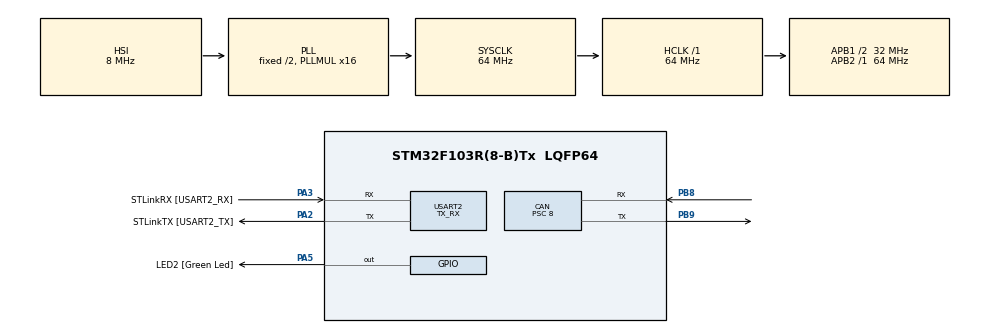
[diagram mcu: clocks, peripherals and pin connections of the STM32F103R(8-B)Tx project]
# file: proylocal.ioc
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CAN.BS1=CAN_BS1_3TQ
CAN.BS2=CAN_BS2_4TQ
CAN.CalculateBaudRate=500000
CAN.CalculateTimeBit=2000
CAN.CalculateTimeQuantum=250.0
CAN.Prescaler=8
FREERTOS.Tasks01=defaultTask,0,128,StartDefaultTask,Default,NULL,Dynamic,NULL,NULL
FREERTOS.configUSE_NEWLIB_REENTRANT=1
Mcu.Family=STM32F1
Mcu.Name=STM32F103R(8-B)Tx
Mcu.Package=LQFP64
NVIC.PriorityGroup=NVIC_PRIORITYGROUP_4
NVIC.TIM4_IRQn=true\:15\:0\:false\:false\:true\:false\:false\:true\:true
NVIC.TimeBase=TIM4_IRQn
NVIC.TimeBaseIP=TIM4
PA13.Mode=Serial_Wire
PA13.Signal=SYS_JTMS-SWDIO
PA14.Mode=Serial_Wire
PA14.Signal=SYS_JTCK-SWCLK
PA2.GPIO_Label=STLinkTX [USART2_TX]
PA2.Mode=Asynchronous
PA2.Signal=USART2_TX
PA3.GPIO_Label=STLinkRX [USART2_RX]
PA3.Mode=Asynchronous
PA3.Signal=USART2_RX
PA5.GPIO_Label=LED2 [Green Led]
PA5.Signal=GPIO_Output
PB8.Mode=CAN_Activate
PB8.Signal=CAN_RX
PB9.Mode=CAN_Activate
PB9.Signal=CAN_TX
ProjectManager.HeapSize=0x200
ProjectManager.StackSize=0x400
ProjectManager.TargetToolchain=STM32CubeIDE
RCC.AHBFreq_Value=64000000
RCC.APB1CLKDivider=RCC_HCLK_DIV2
RCC.APB1Freq_Value=32000000
RCC.APB1TimFreq_Value=64000000
RCC.APB2Freq_Value=64000000
RCC.APB2TimFreq_Value=64000000
RCC.HCLKFreq_Value=64000000
RCC.PLLMUL=RCC_PLL_MUL16
RCC.SYSCLKFreq_VALUE=64000000
RCC.SYSCLKSource=RCC_SYSCLKSOURCE_PLLCLK
RCC.USBFreq_Value=64000000
USART2.Mode=MODE_TX_RX
USART2.VirtualMode=VM_ASYNC
VP_FREERTOS_VS_CMSIS_V1.Mode=CMSIS_V1
VP_SYS_VS_tim4.Mode=TIM4
board=custom

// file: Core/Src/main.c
/* USER CODE BEGIN Header */
/**
  ******************************************************************************
  * @file           : main.c
  * @brief          : Main program body
  ******************************************************************************
  * @attention
  *
  * Copyright (c) 2023 STMicroelectronics.
  * All rights reserved.
  *
  * This software is licensed under terms that can be found in the LICENSE file
  * in the root directory of this software component.
  * If no LICENSE file comes with this software, it is provided AS-IS.
  *
  ******************************************************************************
  */
/* USER CODE END Header */
#include "main.h"
#include "cmsis_os.h"

/* USER CODE BEGIN Includes */
#include <stdio.h>
#include "myprintf.h"
/* USER CODE END Includes */

/* USER CODE BEGIN PTD */
TaskHandle_t TaskTempHandle;
TaskHandle_t TaskSpeedHandle;
//TaskHandle_t TaskRxHandle;

osThreadId TempTaskHandle;
osThreadId SpeedTaskHandle;
osThreadId RxTaskHandle;

osSemaphoreId mySemHandle;

osSemaphoreDef(mySem);

/* USER CODE END PTD */

CAN_HandleTypeDef hcan;

UART_HandleTypeDef huart2;

osThreadId defaultTaskHandle;
/* USER CODE BEGIN PV */
	#define TICKS_PER_MS (osKernelSysTickFrequency / 1000)

	CAN_TxHeaderTypeDef TxHeader;
	CAN_TxHeaderTypeDef TempTxHeader;
	CAN_RxHeaderTypeDef RxHeader;
	uint8_t TxData[8] = {0x11, 0x22, 0x33, 0x44, 0x55, 0x66, 0x77, 0x88};
	uint8_t RxData[8];
	float temp = 0;
	uint8_t	speed = 0;
	uint8_t button_status = 0;

	uint32_t txMailbox;
	CAN_FilterTypeDef sf;

	osMutexId canMutexHandle;
/* USER CODE END PV */

void SystemClock_Config(void);
static void MX_GPIO_Init(void);
static void MX_USART2_UART_Init(void);
static void MX_CAN_Init(void);
void StartDefaultTask(void const * argument);

/* USER CODE BEGIN PFP */
void StartTempTask(void const * argument);
void StartSpeedTask(void const * argument);
void StartRxTask(void const * argument);
/* USER CODE END PFP */

int main(void)
{

  /* MCU Configuration--------------------------------------------------------*/

  /* Reset of all peripherals, Initializes the Flash interface and the Systick. */
  HAL_Init();

  /* Configure the system clock */
  SystemClock_Config();

  /* Initialize all configured peripherals */
  MX_GPIO_Init();
  MX_USART2_UART_Init();
  MX_CAN_Init();
  /* USER CODE BEGIN 2 */
  RetargetInit(&huart2);
  /* USER CODE END 2 */

  /* USER CODE BEGIN RTOS_MUTEX */
  /* add mutexes, ... */
  osMutexDef(canMutex);
  canMutexHandle = osMutexCreate(osMutex(canMutex));
  /* USER CODE END RTOS_MUTEX */

  /* USER CODE BEGIN RTOS_SEMAPHORES */
  /* add semaphores, ... */

   // Crear semáforo binario con contador inicial = 0
  mySemHandle = osSemaphoreCreate(osSemaphore(mySem), 1);
    // Si quieres que empiece bloqueado, NO llames osSemaphoreRelease al inicio
  /* USER CODE END RTOS_SEMAPHORES */

  /* Create the thread(s) */
  /* definition and creation of defaultTask */
  osThreadDef(defaultTask, StartDefaultTask, osPriorityNormal, 0, 128);
  defaultTaskHandle = osThreadCreate(osThread(defaultTask), NULL);

  /* USER CODE BEGIN RTOS_THREADS */
  osThreadDef(SpeedTask, StartSpeedTask, osPriorityNormal, 0, 512);
  osThreadDef(TempTask, StartTempTask, osPriorityNormal, 0, 512);
  osThreadDef(RxTask, StartRxTask, osPriorityHigh, 0, 512);

  SpeedTaskHandle = osThreadCreate(osThread(SpeedTask), NULL);
  TempTaskHandle = osThreadCreate(osThread(TempTask), NULL);
  RxTaskHandle = osThreadCreate(osThread(RxTask), NULL);
  /* add threads, ... */
  /* USER CODE END RTOS_THREADS */

  /* Start scheduler */
  osKernelStart();

  /* We should never get here as control is now taken by the scheduler */

  /* Infinite loop */
  while (1)
  {

  }
}

void SystemClock_Config(void)
{
  RCC_OscInitTypeDef RCC_OscInitStruct = {0};
  RCC_ClkInitTypeDef RCC_ClkInitStruct = {0};

  /** Initializes the RCC Oscillators according to the specified parameters
  * in the RCC_OscInitTypeDef structure.
  */
  RCC_OscInitStruct.OscillatorType = RCC_OSCILLATORTYPE_HSI;
  RCC_OscInitStruct.HSIState = RCC_HSI_ON;
  RCC_OscInitStruct.HSICalibrationValue = RCC_HSICALIBRATION_DEFAULT;
  RCC_OscInitStruct.PLL.PLLState = RCC_PLL_ON;
  RCC_OscInitStruct.PLL.PLLSource = RCC_PLLSOURCE_HSI_DIV2;
  RCC_OscInitStruct.PLL.PLLMUL = RCC_PLL_MUL16;
  if (HAL_RCC_OscConfig(&RCC_OscInitStruct) != HAL_OK)
  {
    Error_Handler();
  }

  /** Initializes the CPU, AHB and APB buses clocks
  */
  RCC_ClkInitStruct.ClockType = RCC_CLOCKTYPE_HCLK|RCC_CLOCKTYPE_SYSCLK
                              |RCC_CLOCKTYPE_PCLK1|RCC_CLOCKTYPE_PCLK2;
  RCC_ClkInitStruct.SYSCLKSource = RCC_SYSCLKSOURCE_PLLCLK;
  RCC_ClkInitStruct.AHBCLKDivider = RCC_SYSCLK_DIV1;
  RCC_ClkInitStruct.APB1CLKDivider = RCC_HCLK_DIV2;
  RCC_ClkInitStruct.APB2CLKDivider = RCC_HCLK_DIV1;

  if (HAL_RCC_ClockConfig(&RCC_ClkInitStruct, FLASH_LATENCY_2) != HAL_OK)
  {
    Error_Handler();
  }
}

static void MX_CAN_Init(void)
{

  hcan.Instance = CAN1;
  hcan.Init.Prescaler = 8;
  hcan.Init.Mode = CAN_MODE_NORMAL;
  hcan.Init.SyncJumpWidth = CAN_SJW_1TQ;
  hcan.Init.TimeSeg1 = CAN_BS1_3TQ;
  hcan.Init.TimeSeg2 = CAN_BS2_4TQ;
  hcan.Init.TimeTriggeredMode = DISABLE;
  hcan.Init.AutoBusOff = DISABLE;
  hcan.Init.AutoWakeUp = DISABLE;
  hcan.Init.AutoRetransmission = DISABLE;
  hcan.Init.ReceiveFifoLocked = DISABLE;
  hcan.Init.TransmitFifoPriority = DISABLE;
  if (HAL_CAN_Init(&hcan) != HAL_OK)
  {
    Error_Handler();
  }
  /* USER CODE BEGIN CAN_Init 2 */
  if (HAL_CAN_Start(&hcan) != HAL_OK) {
    Error_Handler();
  }
  sf.FilterBank = 0;
  sf.FilterMode = CAN_FILTERMODE_IDMASK;
  sf.FilterFIFOAssignment = CAN_FILTER_FIFO0;
  sf.FilterIdHigh = 0x0000;
  sf.FilterIdLow = 0x0000;
  sf.FilterMaskIdHigh = 0x0000;
  sf.FilterMaskIdLow = 0x0000;
  sf.FilterScale = CAN_FILTERSCALE_32BIT;
  sf.FilterActivation = CAN_FILTER_ENABLE;
  sf.SlaveStartFilterBank = 15;

  if (HAL_CAN_ConfigFilter(&hcan, &sf) != HAL_OK) {
     Error_Handler();
   }
  TxHeader.StdId = 0x10; // Este ID activa la respuesta del ESP8266
  TxHeader.DLC = 8;
  TxHeader.IDE = CAN_ID_STD;
  TxHeader.RTR = CAN_RTR_DATA;
  TxHeader.ExtId = 0x00;
  TxHeader.TransmitGlobalTime = DISABLE;

  TempTxHeader.DLC = 8;
  TempTxHeader.IDE = CAN_ID_STD;
  TempTxHeader.RTR = CAN_RTR_DATA;
  TempTxHeader.StdId = 0x11;
  TempTxHeader.ExtId = 0x00;
  TempTxHeader.TransmitGlobalTime = DISABLE;
  /* USER CODE END CAN_Init 2 */

}

static void MX_USART2_UART_Init(void)
{

  huart2.Instance = USART2;
  huart2.Init.BaudRate = 115200;
  huart2.Init.WordLength = UART_WORDLENGTH_8B;
  huart2.Init.StopBits = UART_STOPBITS_1;
  huart2.Init.Parity = UART_PARITY_NONE;
  huart2.Init.Mode = UART_MODE_TX_RX;
  huart2.Init.HwFlowCtl = UART_HWCONTROL_NONE;
  huart2.Init.OverSampling = UART_OVERSAMPLING_16;
  if (HAL_UART_Init(&huart2) != HAL_OK)
  {
    Error_Handler();
  }

}

static void MX_GPIO_Init(void)
{
  GPIO_InitTypeDef GPIO_InitStruct = {0};

  /* GPIO Ports Clock Enable */
  __HAL_RCC_GPIOA_CLK_ENABLE();
  __HAL_RCC_GPIOB_CLK_ENABLE();

  /*Configure GPIO pin Output Level */
  HAL_GPIO_WritePin(LED2_GPIO_Port, LED2_Pin, GPIO_PIN_RESET);

  /*Configure GPIO pin : LED2_Pin */
  GPIO_InitStruct.Pin = LED2_Pin;
  GPIO_InitStruct.Mode = GPIO_MODE_OUTPUT_PP;
  GPIO_InitStruct.Pull = GPIO_NOPULL;
  GPIO_InitStruct.Speed = GPIO_SPEED_FREQ_LOW;
  HAL_GPIO_Init(LED2_GPIO_Port, &GPIO_InitStruct);

}

/* USER CODE BEGIN 4 */
void StartTempTask(void const * argument)
{
	uint32_t PERIOD_MS = 2000;
	uint32_t lastWakeTime = osKernelSysTick();
	uint32_t periodTicks = PERIOD_MS * TICKS_PER_MS;
	for(;;)
	{
		osMutexWait(canMutexHandle, osWaitForever);

		// Enviar mensaje CAN con ID 0x10

	   if (HAL_CAN_AddTxMessage(&hcan, &TempTxHeader, TxData, &txMailbox) == HAL_OK) {

		  // printf("CAN TX: ID=0x%03lX Data:", TempTxHeader.StdId);
		   for (int i = 0; i < TempTxHeader.DLC; i++) {
			  // printf(" %02X", TxData[i]);
		   }
		   printf("Temperature request...\r\n");
		  // printf("\r\n");
	   } else {
		   //printf("Error al enviar CAN\r\n");
	   }
		osMutexRelease(canMutexHandle);
	   // --- Calcular siguiente tick absoluto ---
		 lastWakeTime += periodTicks;

		 // --- Esperar hasta ese tick ---
		 uint32_t now = osKernelSysTick();
		 if ((int32_t)(lastWakeTime - now) > 0) {
			 osDelay((lastWakeTime - now) / TICKS_PER_MS);
		 }

	}

}

void StartSpeedTask(void const * argument)
{
	uint32_t PERIOD_MS = 1000;
	uint32_t lastWakeTime = osKernelSysTick();
	uint32_t periodTicks = PERIOD_MS * TICKS_PER_MS;
	for(;;)
	{
		osMutexWait(canMutexHandle, osWaitForever);

	   // Enviar mensaje CAN con ID 0x10
	   if (HAL_CAN_AddTxMessage(&hcan, &TxHeader, TxData, &txMailbox) == HAL_OK) {

		   //printf("CAN TX: ID=0x%03lX Data:", TxHeader.StdId);
		   for (int i = 0; i < TxHeader.DLC; i++) {
			   //printf(" %02X", TxData[i]);
		   }
			printf("Speed request...\r\n");
		   //printf("\r\n");
	   } else {
		   //printf("Error al enviar CAN\r\n");
	   }
		 osMutexRelease(canMutexHandle);
	   // --- Calcular siguiente tick absoluto ---
		 lastWakeTime += periodTicks;

		 // --- Esperar hasta ese tick ---

		 uint32_t now = osKernelSysTick();
		 if ((int32_t)(lastWakeTime - now) > 0) {
			 osDelay((lastWakeTime - now) / TICKS_PER_MS);
		 }

	}

}

void StartRxTask(void const * argument)
{
	for(;;)
	{
	   // Esperar a que la ISR libere el semáforo
	osStatus statusSem = osSemaphoreWait(mySemHandle, osWaitForever);
	  if (statusSem == osOK) {

		  // Intentar tomar el mutex (bloquea si otra tarea lo está usando)

		 osStatus statusMutex = osMutexWait(canMutexHandle, osWaitForever);
		  printf("entra a rx");
						  printf("\r\n");
		 // if (statusMutex == osOK) {

						 // printf("CAN ID: 0x%03lX  Data:", RxHeader.StdId);
						  printf("toma mensaje exitoso");
						  printf("\r\n");

						  button_status = (0x01 & RxData[0]);
						  speed = (0xFF & RxData[1]);
						  uint32_t tempBits = ((uint32_t)RxData[2]) |
											  ((uint32_t)RxData[3] << 8) |
											  ((uint32_t)RxData[4] << 16) |
											  ((uint32_t)RxData[5] << 24);
						  memcpy(&temp, &tempBits, sizeof(float));
						  int tempamdanr = (int)temp;  // si 'temperatura' es float

						  printf("%d,%d,%d\n", speed, button_status, tempamdanr);

			 osMutexRelease(canMutexHandle);
		 // }

	  }

	}
	osMutexRelease(canMutexHandle);
}
void HAL_CAN_RxFifo0MsgPendingCallback(CAN_HandleTypeDef *hcan)
{

	 BaseType_t xHigherPriorityTaskWoken = pdFALSE;

	    while (HAL_CAN_GetRxFifoFillLevel(hcan, CAN_RX_FIFO0) > 0)
	    {
	        if (HAL_CAN_GetRxMessage(hcan, CAN_RX_FIFO0, &RxHeader, RxData) == HAL_OK)
	        {
	            // Libera el semáforo desde ISR
	        	//printf("semaforo");
	            xSemaphoreGiveFromISR(mySemHandle, &xHigherPriorityTaskWoken);
	        }

	    }
		portYIELD_FROM_ISR(xHigherPriorityTaskWoken);
}

/* USER CODE END 4 */

void StartDefaultTask(void const * argument)
{
  /* USER CODE BEGIN 5 */
  /* Infinite loop */
  if(HAL_CAN_ActivateNotification(&hcan, CAN_IT_RX_FIFO0_MSG_PENDING) != HAL_OK)
  {
	  Error_Handler();
  }
  for(;;)
  {
	osDelay(1);
  }
  /* USER CODE END 5 */
}

void HAL_TIM_PeriodElapsedCallback(TIM_HandleTypeDef *htim)
{
  if (htim->Instance == TIM4)
  {
    HAL_IncTick();
  }
}

void Error_Handler(void)
{
  __disable_irq();
  while (1)
  {
  }
}
